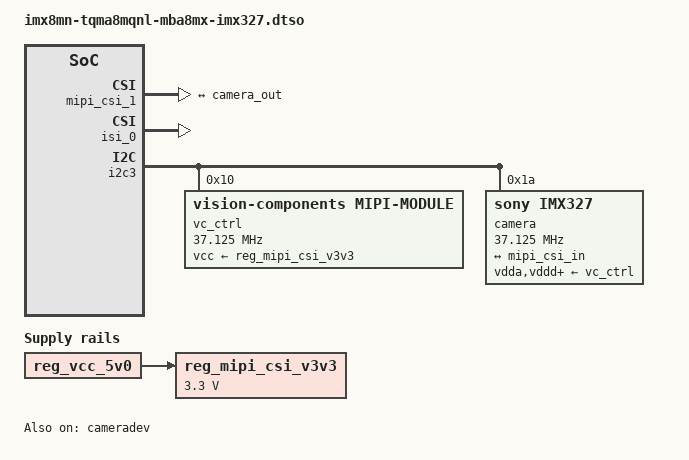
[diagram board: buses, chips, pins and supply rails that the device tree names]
// SPDX-License-Identifier: (GPL-2.0-or-later OR MIT)
/*
 * Copyright (c) 2021-2024 TQ-Systems GmbH <linux@ew.tq-group.com>,
 * D-82229 Seefeld, Germany.
 * Author: Alexander Stein
 */

/dts-v1/;
/plugin/;

&{/} {
	/* This voltage converter is located on the adapter board MBaxCA */
	reg_mipi_csi_v3v3: regulator-mipi-csi-v3v3 {
		compatible = "regulator-fixed";
		regulator-name = "MIPI_CSI_V_3V3";
		regulator-min-microvolt = <3300000>;
		regulator-max-microvolt = <3300000>;
		vin-supply = <&reg_vcc_5v0>;
	};
};

&cameradev {
	status = "okay";
};

&mipi_csi_1 {
	status = "okay";

	port {
		mipi_csi_in: endpoint {
			remote-endpoint = <&camera_out>;
			data-lanes = <2>;
			csis-hs-settle = <13>;
			csis-clk-settle = <2>;
			csis-wclk;
		};
	};
};

&isi_0 {
	status = "okay";

	cap_device {
		status = "okay";
	};
};

&i2c3 {
	#address-cells = <1>;
	#size-cells = <0>;

	vc_ctrl: controller@10 {
		compatible = "vision-components,mipi-module";
		reg = <0x10>;
		#clock-cells = <0>;
		vcc-supply = <&reg_mipi_csi_v3v3>;
		clock-frequency = <37125000>;
	};

	camera@1a {
		compatible = "sony,imx327", "sony,imx290";
		reg = <0x1a>;
		clocks = <&vc_ctrl>;
		clock-names = "xclk";
		clock-frequency = <37125000>;
		vdda-supply = <&vc_ctrl>;
		vddd-supply = <&vc_ctrl>;
		vdddo-supply = <&vc_ctrl>;
		orientation = <2>;

		port {
			camera_out: endpoint {
				remote-endpoint = <&mipi_csi_in>;
				data-lanes = <1 2>;
				clock-lanes = <0>;
				clock-noncontinuous = <1>;
				link-frequencies = /bits/ 64 <445500000 297000000>;
			};
		};
	};
};
